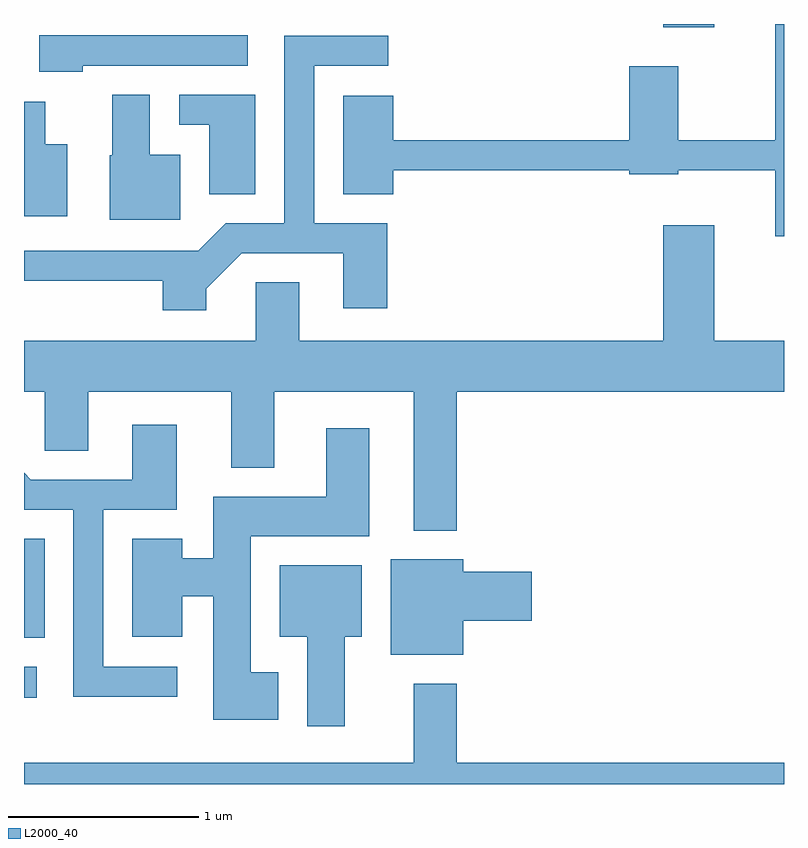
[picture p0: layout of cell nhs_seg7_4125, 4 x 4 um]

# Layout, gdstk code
import gdstk
lib = gdstk.Library(unit=1e-6, precision=1e-09)
def R(c, l, rs):  # rectangles x0, y0, x1, y1
    for r in rs: c.add(gdstk.rectangle(r[:2], r[2:], *l))
def P(c, l, *ps):  # polygons
    for p in ps: c.add(gdstk.Polygon(p, *l))
L2000_40 = (2000, 40)

nhs_seg7_4125 = lib.new_cell('nhs_seg7_4125')
R(nhs_seg7_4125, L2000_40, [(311.611,1712.706,311.678,1712.869), (311.611,1713.021,311.719,1713.544), (314.976,1716.236,315.244,1716.252)])
P(nhs_seg7_4125, L2000_40, [(315.611,1716.252),(315.566,1716.252),(315.566,1715.639),(315.054,1715.639),(315.054,1716.029),(314.796,1716.029),(314.796,1715.639),(313.554,1715.639),(313.554,1715.874),(313.291,1715.874),(313.291,1715.356),(313.554,1715.356),(313.554,1715.481),(314.796,1715.481),(314.796,1715.461),(315.054,1715.461),(315.054,1715.481),(315.566,1715.481),(315.566,1715.136),(315.611,1715.136)],
  [(311.919,1716.031),(312.788,1716.031),(312.788,1716.194),(311.691,1716.194),(311.691,1716.001),(311.919,1716.001)],
  [(312.569,1714.859),(312.757,1715.046),(313.291,1715.046),(313.291,1714.756),(313.524,1714.756),(313.524,1715.204),(313.139,1715.204),(313.139,1716.031),(313.528,1716.031),(313.528,1716.189),(312.981,1716.189),(312.981,1715.204),(312.674,1715.204),(312.529,1715.059),(311.611,1715.059),(311.611,1714.901),(312.341,1714.901),(312.341,1714.746),(312.569,1714.746)],
  [(312.434,1715.564),(312.274,1715.564),(312.274,1715.879),(312.076,1715.879),(312.076,1715.56),(312.061,1715.56),(312.061,1715.221),(312.434,1715.221)],
  [(312.829,1715.879),(312.428,1715.879),(312.428,1715.721),(312.586,1715.721),(312.586,1715.356),(312.829,1715.356)],
  [(311.839,1715.619),(311.724,1715.619),(311.724,1715.844),(311.611,1715.844),(311.611,1715.241),(311.839,1715.241)],
  [(314.976,1715.194),(314.976,1714.584),(313.059,1714.584),(313.059,1714.894),(312.831,1714.894),(312.831,1714.584),(311.611,1714.584),(311.611,1714.316),(311.721,1714.316),(311.721,1714.006),(311.949,1714.006),(311.949,1714.316),(312.701,1714.316),(312.701,1713.916),(312.929,1713.916),(312.929,1714.316),(313.661,1714.316),(313.661,1713.586),(313.889,1713.586),(313.889,1714.316),(315.611,1714.316),(315.611,1714.584),(315.244,1714.584),(315.244,1715.194)],
  [(312.418,1712.869),(312.029,1712.869),(312.029,1713.696),(312.414,1713.696),(312.414,1714.144),(312.181,1714.144),(312.181,1713.854),(311.647,1713.854),(311.611,1713.89),(311.611,1713.696),(311.871,1713.696),(311.871,1712.711),(312.418,1712.711)],
  [(312.949,1712.839),(312.804,1712.839),(312.804,1713.556),(313.429,1713.556),(313.429,1714.124),(313.201,1714.124),(313.201,1713.764),(312.606,1713.764),(312.606,1713.439),(312.444,1713.439),(312.444,1713.544),(312.181,1713.544),(312.181,1713.026),(312.444,1713.026),(312.444,1713.241),(312.606,1713.241),(312.606,1712.591),(312.949,1712.591)],
  [(313.924,1713.111),(314.284,1713.111),(314.284,1713.369),(313.924,1713.369),(313.924,1713.434),(313.541,1713.434),(313.541,1712.931),(313.924,1712.931)],
  [(313.299,1713.026),(313.389,1713.026),(313.389,1713.404),(312.956,1713.404),(312.956,1713.026),(313.101,1713.026),(313.101,1712.556),(313.299,1712.556)],
  [(315.611,1712.364),(313.889,1712.364),(313.889,1712.779),(313.661,1712.779),(313.661,1712.364),(311.611,1712.364),(311.611,1712.252),(315.611,1712.252)])

lib.write_gds('nhs_seg7_4125.gds')
